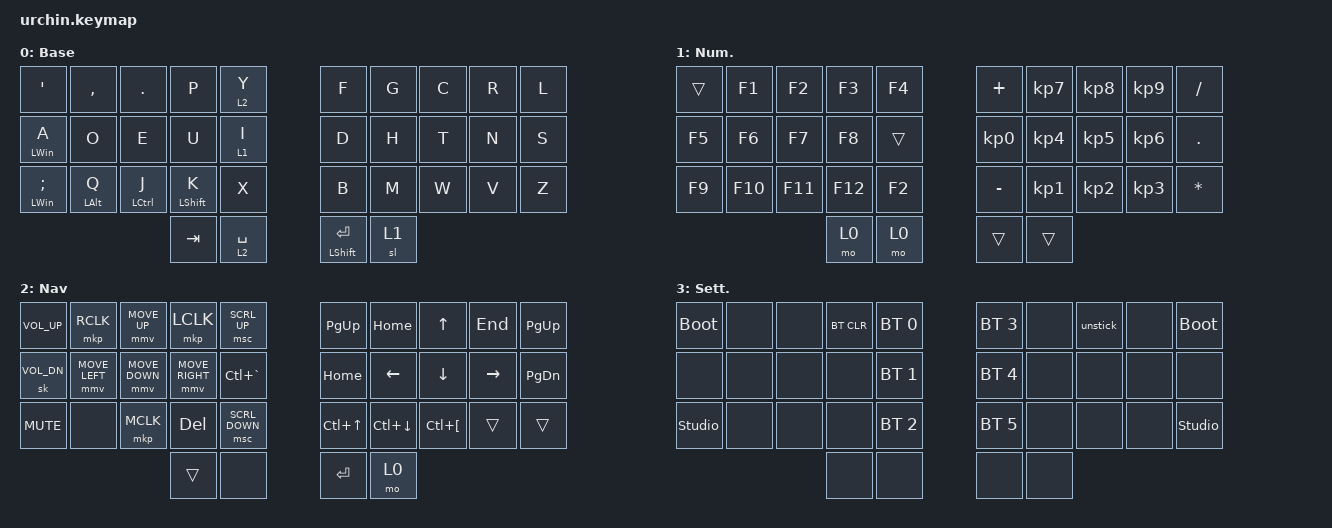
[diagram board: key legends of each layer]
/*
 * Copyright (c) 2020 duckyb
 *
 * SPDX-License-Identifier: MIT
 */

#include <behaviors.dtsi>
#include <dt-bindings/zmk/bt.h>
#include <dt-bindings/zmk/keys.h>
#include <dt-bindings/zmk/pointing.h>
#include "keymap_italian.h"

// Layer definitions

#define BASE 0
#define SYM 1
#define EXT 2
#define FNC 3
#define SYM2 4
#define ACCENT 5
#define SETTINGS 6

// -----------------

&sk {
    // don't release mods on other mods presses

    ignore-modifiers;
};

/ {
    behaviors {
        // Enables holding the first mod-tap key
        // by performing a tap-release-hold sequence.
        // To use it: "&qt KEYCODE1 KEYCODE2"

        qt: quick_tap {
            compatible = "zmk,behavior-hold-tap";
            label = "QUICK_TAP";
            #binding-cells = <2>;
            flavor = "hold-preferred";
            tapping-term-ms = <200>;
            quick-tap-ms = <200>;
            bindings = <&kp>, <&kp>;
        };
    };

    macros {
        // sometimes my device thinks a modifier is being held down
        // pressing all modifiers fixes it.

        unstick: unstick {
            label = "ZM_unstick";
            compatible = "zmk,behavior-macro";
            #binding-cells = <0>;
            bindings = <&kp LSHIFT &kp RSHIFT &kp LCTRL &kp RCTRL &kp LALT &kp RALT &kp LGUI &kp RGUI>;
        };
    };

    combos {
        compatible = "zmk,combos";

        // both right thumb keys
        // internal-left & external-right thumb keys
        // both left thumb keys

        combo_settings {
            timeout-ms = <200>;
            key-positions = <31 30>;
            bindings = <&mo 3>;
            layers = <3>;
        };

        // left index & middle fingers (home-row)
        // hold control & space for Adobe workflow

        combo_excl {
            bindings = <&kp EXCL>;
            key-positions = <5 15>;
        };

        combo_backspace {
            bindings = <&kp BACKSPACE>;
            key-positions = <7 8>;
        };

        combo_question {
            bindings = <&kp QUESTION>;
            key-positions = <15 25>;
        };

        combo_plus {
            bindings = <&kp KP_PLUS>;
            key-positions = <6 16>;
        };

        combo_minus {
            bindings = <&kp KP_MINUS>;
            key-positions = <16 26>;
        };

        combo_multiply {
            bindings = <&kp KP_MULTIPLY>;
            key-positions = <7 17>;
        };

        combo_divide {
            bindings = <&kp KP_DIVIDE>;
            key-positions = <17 27>;
        };

        combo_right_square {
            bindings = <&kp RIGHT_BRACKET>;
            key-positions = <5 6>;
        };

        combo_right_paren {
            bindings = <&kp RIGHT_PARENTHESIS>;
            key-positions = <15 16>;
        };

        combo_right_curly {
            bindings = <&kp RIGHT_BRACE>;
            key-positions = <25 26>;
        };

        combo_colon {
            bindings = <&kp COLON>;
            key-positions = <26 27>;
        };

        combo_save_doc {
            bindings = <&kp LC(S)>;
            key-positions = <27 28>;
        };

        combo_find {
            bindings = <&kp LC(F)>;
            key-positions = <15 17>;
        };

        combo_undo {
            bindings = <&kp LC(Z)>;
            key-positions = <26 28>;
        };

        combo_term_find {
            bindings = <&kp LC(R)>;
            key-positions = <6 8>;
        };

        combo_rightarrow {
            bindings = <&kp RIGHT>;
            key-positions = <26 27 28>;
        };

        combo_end {
            bindings = <&kp END>;
            key-positions = <26 27 28 29>;
        };

        combo_esc {
            bindings = <&kp ESCAPE>;
            key-positions = <13 16>;
        };

        combo_left_square {
            bindings = <&kp LEFT_BRACKET>;
            key-positions = <3 4>;
        };

        combo_left_paren {
            bindings = <&kp LEFT_PARENTHESIS>;
            key-positions = <13 14>;
        };

        combo_left_curly {
            bindings = <&kp LEFT_BRACE>;
            key-positions = <23 24>;
        };

        combo_printscreen {
            bindings = <&kp PRINTSCREEN>;
            key-positions = <2 3>;
        };

        combo_dollar {
            bindings = <&kp DOLLAR>;
            key-positions = <4 14>;
        };

        combo_at {
            bindings = <&kp AT>;
            key-positions = <3 13>;
        };

        combo_percent {
            bindings = <&kp PERCENT>;
            key-positions = <2 12>;
        };

        combo_hash {
            bindings = <&kp HASH>;
            key-positions = <1 11>;
        };

        combo_tilde {
            bindings = <&kp TILDE>;
            key-positions = <11 21>;
        };

        combo_home {
            bindings = <&kp HOME>;
            key-positions = <20 21 22 23>;
        };

        combo_left {
            bindings = <&kp LEFT>;
            key-positions = <21 22 23>;
        };

        combo_equals {
            bindings = <&kp KP_EQUAL>;
            key-positions = <13 23>;
        };

        combo_underscore {
            bindings = <&kp UNDER>;
            key-positions = <14 24>;
        };

        combo_lt {
            bindings = <&kp LESS_THAN>;
            key-positions = <0 1>;
        };

        combo_gt {
            bindings = <&kp GREATER_THAN>;
            key-positions = <1 2>;
        };

        combo_backslash {
            bindings = <&kp BACKSLASH>;
            key-positions = <12 22>;
        };

        combo_grave {
            bindings = <&kp GRAVE>;
            key-positions = <20 21>;
        };

        combo_pipe {
            bindings = <&kp PIPE>;
            key-positions = <18 28>;
        };

        combo_amp {
            bindings = <&kp AMPS>;
            key-positions = <18 8>;
        };

        combo_delete {
            bindings = <&kp DELETE>;
            key-positions = <7 6 32>;
        };
    };

    keymap {
        compatible = "zmk,keymap";

        // Base alpha layer

        default_layer {
            label = "Base";
            bindings = <
&kp SQT            &kp COMMA       &kp PERIOD          &kp P             &lt 2 Y      &kp F               &kp G  &kp C  &kp R  &kp L
&mt LEFT_WIN A     &kp O           &kp E               &kp U             &lt 1 I      &kp D               &kp H  &kp T  &kp N  &kp S
&mt LEFT_WIN SEMI  &mt LEFT_ALT Q  &mt LEFT_CONTROL J  &mt LEFT_SHIFT K  &kp X        &kp B               &kp M  &kp W  &kp V  &kp Z
                                                       &kp TAB           &lt 2 SPACE  &mt LEFT_SHIFT RET  &sl 1
            >;
        };

        // Numbers and high frequency symbols

        numeric {
            label = "Num.";
            bindings = <
&trans  &kp F1   &kp F2   &kp F3   &kp F4  &kp PLUS         &kp KP_NUMBER_7  &kp KP_NUMBER_8  &kp KP_NUMBER_9  &kp SLASH
&kp F5  &kp F6   &kp F7   &kp F8   &trans  &kp KP_NUMBER_0  &kp KP_NUMBER_4  &kp KP_NUMBER_5  &kp KP_NUMBER_6  &kp DOT
&kp F9  &kp F10  &kp F11  &kp F12  &kp F2  &kp MINUS        &kp KP_NUMBER_1  &kp KP_NUMBER_2  &kp KP_NUMBER_3  &kp ASTERISK
                          &mo 0    &mo 0   &trans           &trans
            >;
        };

        // Main modifiers and arrow keys

        nav {
            label = "Nav";
            bindings = <
&kp C_VOLUME_UP  &mkp RCLK       &mmv MOVE_UP    &mkp LCLK        &msc SCRL_UP    &kp PG_UP   &kp HOME      &kp UP                &kp END    &kp PAGE_UP
&sk C_VOL_DN     &mmv MOVE_LEFT  &mmv MOVE_DOWN  &mmv MOVE_RIGHT  &kp LC(GRAVE)   &kp HOME    &kp LEFT      &kp DOWN              &kp RIGHT  &kp PAGE_DOWN
&kp K_MUTE       &none           &mkp MCLK       &kp DELETE       &msc SCRL_DOWN  &kp LC(UP)  &kp LC(DOWN)  &kp LC(LEFT_BRACKET)  &trans     &trans
                                                 &trans           &none           &kp ENTER   &mo 0
            >;
        };

        // Function keys with modifiers
        // Low frequency symbols.
        // Used to type regional accents.
        // Used to change the keyboard's settings.

        settings_layer {
            label = "Sett.";
            bindings = <
&bootloader     &none  &none  &bt BT_CLR  &bt BT_SEL 0  &bt BT_SEL 3  &none  &unstick  &none  &bootloader
&none           &none  &none  &none       &bt BT_SEL 1  &bt BT_SEL 4  &none  &none     &none  &none
&studio_unlock  &none  &none  &none       &bt BT_SEL 2  &bt BT_SEL 5  &none  &none     &none  &studio_unlock
                              &none       &none         &none         &none
            >;
        };
    };
};
